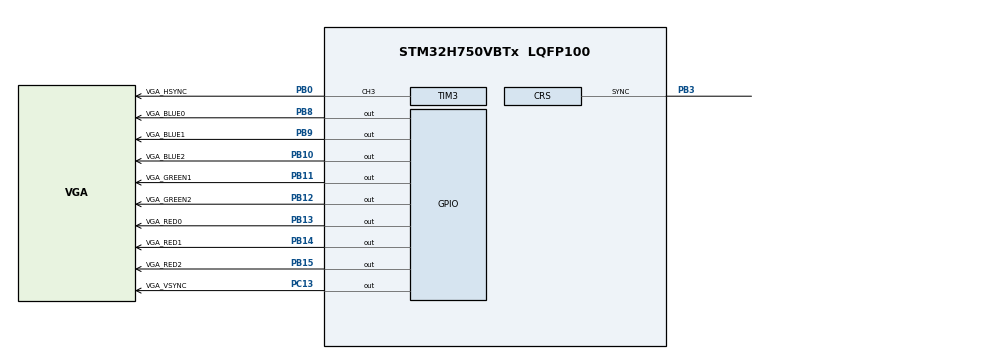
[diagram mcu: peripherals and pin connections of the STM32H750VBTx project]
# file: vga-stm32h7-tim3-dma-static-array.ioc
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ADC3.Channel-0\#ChannelRegularConversion=ADC_CHANNEL_VREFINT
ADC3.NbrOfConversionFlag=1
ADC3.OffsetNumber-0\#ChannelRegularConversion=ADC_OFFSET_NONE
ADC3.OffsetSignedSaturation-0\#ChannelRegularConversion=DISABLE
ADC3.Rank-0\#ChannelRegularConversion=1
ADC3.SamplingTime-0\#ChannelRegularConversion=ADC_SAMPLETIME_1CYCLE_5
CORTEX_M7.CPU_DCache=Enabled
CORTEX_M7.CPU_ICache=Enabled
Dma.Request0=TIM1_UP
Dma.TIM1_UP.0.Direction=DMA_MEMORY_TO_PERIPH
Dma.TIM1_UP.0.EventEnable=DISABLE
Dma.TIM1_UP.0.FIFOMode=DMA_FIFOMODE_DISABLE
Dma.TIM1_UP.0.Instance=DMA2_Stream5
Dma.TIM1_UP.0.MemDataAlignment=DMA_MDATAALIGN_BYTE
Dma.TIM1_UP.0.MemInc=DMA_MINC_ENABLE
Dma.TIM1_UP.0.Mode=DMA_NORMAL
Dma.TIM1_UP.0.PeriphDataAlignment=DMA_PDATAALIGN_BYTE
Dma.TIM1_UP.0.PeriphInc=DMA_PINC_DISABLE
Dma.TIM1_UP.0.Polarity=HAL_DMAMUX_REQ_GEN_RISING
Dma.TIM1_UP.0.Priority=DMA_PRIORITY_VERY_HIGH
Dma.TIM1_UP.0.RequestNumber=1
Dma.TIM1_UP.0.SignalID=NONE
Dma.TIM1_UP.0.SyncEnable=DISABLE
Dma.TIM1_UP.0.SyncPolarity=HAL_DMAMUX_SYNC_NO_EVENT
Dma.TIM1_UP.0.SyncRequestNumber=1
Dma.TIM1_UP.0.SyncSignalID=NONE
Mcu.Family=STM32H7
Mcu.Name=STM32H750VBTx
Mcu.Package=LQFP100
NVIC.DMA2_Stream5_IRQn=true\:0\:0\:false\:false\:true\:false\:true
NVIC.PriorityGroup=NVIC_PRIORITYGROUP_4
NVIC.TIM3_IRQn=true\:0\:0\:false\:false\:true\:true\:true
PA13\ (JTMS/SWDIO).Mode=Serial_Wire
PA13\ (JTMS/SWDIO).Signal=DEBUG_JTMS-SWDIO
PA14\ (JTCK/SWCLK).Mode=Serial_Wire
PA14\ (JTCK/SWCLK).Signal=DEBUG_JTCK-SWCLK
PB0.GPIO_Label=VGA_HSYNC
PB0.Signal=S_TIM3_CH3
PB10.GPIO_Label=VGA_BLUE2
PB10.GPIO_ModeDefaultOutputPP=GPIO_MODE_OUTPUT_PP
PB10.GPIO_PuPd=GPIO_NOPULL
PB10.GPIO_Speed=GPIO_SPEED_FREQ_VERY_HIGH
PB10.PinState=GPIO_PIN_RESET
PB10.Signal=GPIO_Output
PB11.GPIO_Label=VGA_GREEN1
PB11.GPIO_ModeDefaultOutputPP=GPIO_MODE_OUTPUT_PP
PB11.GPIO_PuPd=GPIO_NOPULL
PB11.GPIO_Speed=GPIO_SPEED_FREQ_VERY_HIGH
PB11.PinState=GPIO_PIN_RESET
PB11.Signal=GPIO_Output
PB12.GPIO_Label=VGA_GREEN2
PB12.GPIO_ModeDefaultOutputPP=GPIO_MODE_OUTPUT_PP
PB12.GPIO_PuPd=GPIO_NOPULL
PB12.GPIO_Speed=GPIO_SPEED_FREQ_VERY_HIGH
PB12.PinState=GPIO_PIN_RESET
PB12.Signal=GPIO_Output
PB13.GPIO_Label=VGA_RED0
PB13.GPIO_ModeDefaultOutputPP=GPIO_MODE_OUTPUT_PP
PB13.GPIO_PuPd=GPIO_NOPULL
PB13.GPIO_Speed=GPIO_SPEED_FREQ_VERY_HIGH
PB13.PinState=GPIO_PIN_RESET
PB13.Signal=GPIO_Output
PB14.GPIO_Label=VGA_RED1
PB14.GPIO_ModeDefaultOutputPP=GPIO_MODE_OUTPUT_PP
PB14.GPIO_PuPd=GPIO_NOPULL
PB14.GPIO_Speed=GPIO_SPEED_FREQ_VERY_HIGH
PB14.PinState=GPIO_PIN_RESET
PB14.Signal=GPIO_Output
PB15.GPIO_Label=VGA_RED2
PB15.GPIO_ModeDefaultOutputPP=GPIO_MODE_OUTPUT_PP
PB15.GPIO_PuPd=GPIO_NOPULL
PB15.GPIO_Speed=GPIO_SPEED_FREQ_VERY_HIGH
PB15.PinState=GPIO_PIN_RESET
PB15.Signal=GPIO_Output
PB3\ (JTDO/TRACESWO).Mode=CRS SYNC Source GPIO
PB3\ (JTDO/TRACESWO).Signal=CRS_SYNC
PB8.GPIO_FM8=SYSCFG_PMCR_I2C_PB8_FMP
PB8.GPIO_Label=VGA_BLUE0
PB8.GPIO_ModeDefaultOutputPP=GPIO_MODE_OUTPUT_PP
PB8.GPIO_Speed=GPIO_SPEED_FREQ_VERY_HIGH
PB8.Signal=GPIO_Output
PB9.GPIO_FM9=SYSCFG_PMCR_I2C_PB9_FMP
PB9.GPIO_Label=VGA_BLUE1
PB9.GPIO_ModeDefaultOutputPP=GPIO_MODE_OUTPUT_PP
PB9.GPIO_PuPd=GPIO_NOPULL
PB9.GPIO_Speed=GPIO_SPEED_FREQ_VERY_HIGH
PB9.PinState=GPIO_PIN_RESET
PB9.Signal=GPIO_Output
PC13.GPIO_Label=VGA_VSYNC
PC13.GPIO_ModeDefaultOutputPP=GPIO_MODE_OUTPUT_PP
PC13.GPIO_PuPd=GPIO_NOPULL
PC13.GPIO_Speed=GPIO_SPEED_FREQ_LOW
PC13.PinState=GPIO_PIN_RESET
PC13.Signal=GPIO_Output
PC14-OSC32_IN\ (OSC32_IN).Mode=LSE-External-Oscillator
PC14-OSC32_IN\ (OSC32_IN).Signal=RCC_OSC32_IN
PC15-OSC32_OUT\ (OSC32_OUT).Mode=LSE-External-Oscillator
PC15-OSC32_OUT\ (OSC32_OUT).Signal=RCC_OSC32_OUT
PH0-OSC_IN\ (PH0).Mode=HSE-External-Oscillator
PH0-OSC_IN\ (PH0).Signal=RCC_OSC_IN
PH1-OSC_OUT\ (PH1).Mode=HSE-External-Oscillator
PH1-OSC_OUT\ (PH1).Signal=RCC_OSC_OUT
ProjectManager.HeapSize=0x400
ProjectManager.StackSize=0x800
ProjectManager.TargetToolchain=Makefile
RCC.ADCCLockSelection=RCC_ADCCLKSOURCE_PLL3
RCC.ADCFreq_Value=40000000
RCC.APB1Freq_Value=105000000
RCC.APB2Freq_Value=105000000
RCC.APB3Freq_Value=105000000
RCC.APB4Freq_Value=105000000
RCC.CSICalibrationValue=16
RCC.CortexFreq_Value=420000000
RCC.D1PPRE=RCC_APB3_DIV2
RCC.D2PPRE1=RCC_APB1_DIV2
RCC.D2PPRE2=RCC_APB2_DIV2
RCC.D3PPRE=RCC_APB4_DIV2
RCC.DIVM1=4
RCC.DIVM2=4
RCC.DIVM3=2
RCC.DIVN1=420
RCC.DIVN2=200
RCC.DIVN3=200
RCC.DIVQ3=4
RCC.DIVR3=20
RCC.FLatency=FLASH_LATENCY_2
RCC.HCLKFreq_Value=210000000
RCC.HPRE=RCC_HCLK_DIV2
RCC.HSE_VALUE=8000000
RCC.HSICalibrationValue=32
RCC.PLL2FRACN=0
RCC.PLL3FRACN=0
RCC.PLLFRACN=0
RCC.PLLSourceVirtual=RCC_PLLSOURCE_HSE
RCC.PWR_Regulator_Voltage_Scale=PWR_REGULATOR_VOLTAGE_SCALE0
RCC.ProductRev=revY
RCC.QSPICLockSelection=RCC_QSPICLKSOURCE_CLKP
RCC.RCC_TIM_PRescaler_Selection=RCC_TIMPRES_DESACTIVATED
RCC.SDMMC1CLockSelection=RCC_SDMMCCLKSOURCE_PLL2
RCC.SYSCLKFreq_VALUE=420000000
RCC.SYSCLKSource=RCC_SYSCLKSOURCE_PLLCLK
RCC.USBCLockSelection=RCC_USBCLKSOURCE_PLL3
RCC.USBFreq_Value=200000000
SH.S_TIM3_CH3.0=TIM3_CH3,PWM Generation3 CH3
TIM1.Period=VGA_TIM1_PERIODE
TIM1.Prescaler=VGA_TIM1_PRESCALE
TIM3.Channel-PWM\ Generation1\ No\ Output=TIM_CHANNEL_1
TIM3.Channel-PWM\ Generation3\ CH3=TIM_CHANNEL_3
TIM3.OCPolarity_1=TIM_OCPOLARITY_LOW
TIM3.OCPolarity_3=TIM_OCPOLARITY_LOW
TIM3.Period=VGA_TIM3_HSYNC_PERIODE
TIM3.Prescaler=VGA_TIM3_HSYNC_PRESCALE
TIM3.Pulse-PWM\ Generation1\ No\ Output=VGA_TIM3_HTRIGGER_START
TIM3.Pulse-PWM\ Generation3\ CH3=VGA_TIM3_HSYNC_IMP
VP_ADC3_Vbat_Input.Mode=IN-Vbat
VP_ADC3_Vref_Input.Mode=IN-Vrefint
VP_RTC_VS_RTC_Activate.Mode=RTC_Enabled
VP_TIM1_VS_ClockSourceINT.Mode=Internal
VP_TIM3_VS_ClockSourceINT.Mode=Internal
VP_TIM3_VS_no_output1.Mode=PWM Generation1 No Output
board=custom

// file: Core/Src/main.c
/* USER CODE BEGIN Header */

/*** iso-8859-5 code for support cyrilic symbols ***/

/**
  ******************************************************************************
  * @file           : main.c
  * @brief          : Main program body
  *
  ****************************************************************************
  * @attention
  *
  * <h2><center>&copy; Copyright (c) 2020 STMicroelectronics.
  * All rights reserved.</center></h2>
  *
  * This software component is licensed by ST under BSD 3-Clause license,
  * the "License"; You may not use this file except in compliance with the
  * License. You may obtain a copy of the License at:
  *                        opensource.org/licenses/BSD-3-Clause
  *
  ******************************************************************************
  */
/* USER CODE END Header */
#include "main.h"
#include "adc.h"
#include "dma.h"
#include "rtc.h"
#include "tim.h"
#include "gpio.h"

/* USER CODE BEGIN Includes */
// #include "graphics.h"
// #include "extra.h"
// #include "fonts.h"

#include "fonts.h"
#include "stm32_ub_vga_text.h"
#include "stm32_adafruit_vga.h"

//stdc
#include <stdio.h>
#include <string.h>
#include <stdlib.h>
#include <math.h>
#include <errno.h>

/* USER CODE END Includes */

/* USER CODE BEGIN PD */
#define MAX_INPUT_LEN 1024
/* USER CODE END PD */

/* USER CODE BEGIN PV */

extern uint16_t penguin[];

char buffVal0[12];
char buffVal1[12];
char buffVal2[12];
char buffVal3[12];
char buffVal4[12];
char buffVal5[12];
char buffVal6[12];
char buffVal7[12];

uint16_t Value0;
uint16_t Value1;
uint16_t Value2;
uint16_t Value3;
uint16_t Value4;
uint16_t Value5;
uint16_t Value6;
uint16_t Value7;

char input_buff[MAX_INPUT_LEN] = {};

uint32_t wait_time = 0;
uint32_t start_time = 0;
// uint32_t interpreter_data_len = 0;

/* USER CODE END PV */

void SystemClock_Config(void);
void PeriphCommonClock_Config(void);
/* USER CODE BEGIN PFP */
char UART_Check_for_string(char * ptr, uint32_t max_size);
/* USER CODE END PFP */

/* USER CODE BEGIN 0 */
uint16_t rand16(void)
{
  uint16_t lfsr = random();
  uint32_t bit;
  bit = ((lfsr >> 0) ^ (lfsr >> 2) ^ (lfsr >> 3) ^ (lfsr >> 5)) & 1;
  return lfsr = (lfsr >> 1) | (bit << 15);
}

#define sinus_points 255
#define minimal_amplitude 5

float PI = 3.14159;
float sin_table_a[sinus_points];
float sin_table_b[sinus_points];
float sin_table_c[sinus_points];

void sin_init(uint16_t i)
{
  sin_table_c[(i+(sinus_points/3*1)) & (sinus_points)]=
  sin_table_b[(i+(sinus_points/3*2)) & (sinus_points)]=
  sin_table_a[(i+(sinus_points/3*3)) & (sinus_points)]=
  ((sin((float) i*(2*PI/sinus_points)))*(sinus_points/2));
}

void sinusoide_scroll(void)
{
  for(uint16_t shift = 40 ; shift < UB_VGA_Get_Y() - 40; shift++)
  {
    for(uint16_t i = 0; i<UB_VGA_Get_X() ; i++)
    {
      static volatile uint16_t x;
      x = i & sinus_points;
      if(x>=sinus_points) x-=sinus_points;
      BSP_LCD_DrawPixel(i, (sin_table_a[x]/2)+shift, VGA_COL_BLUE);
      BSP_LCD_DrawPixel(i, (sin_table_b[x]/2)+shift, VGA_COL_GREEN);
      BSP_LCD_DrawPixel(i, (sin_table_c[x]/2)+shift, VGA_COL_RED);
    }

    for(uint32_t i=0;i<2e6;i++) __asm volatile ("nop");

    for(uint16_t i = 0; i<UB_VGA_Get_X() ; i++)
    {
      static volatile uint16_t x;
      x = i & sinus_points;
      if(x>=sinus_points) x-=sinus_points;
      BSP_LCD_DrawPixel(i, (sin_table_a[x]/2)+shift, 0);
      BSP_LCD_DrawPixel(i, (sin_table_b[x]/2)+shift, 0);
      BSP_LCD_DrawPixel(i, (sin_table_c[x]/2)+shift, 0);
    }
  }
  for(uint16_t shift=UB_VGA_Get_Y() - 40 ; shift > 40; shift--)
  {
    for(uint16_t i = UB_VGA_Get_X(); i>0 ; i--)
    {
      static volatile uint16_t x;
      x = i & sinus_points;
      if(x>=sinus_points) x-=sinus_points;
      BSP_LCD_DrawPixel(i, (sin_table_a[x]/2)+shift, VGA_COL_BLUE);
      BSP_LCD_DrawPixel(i, (sin_table_b[x]/2)+shift, VGA_COL_GREEN);
      BSP_LCD_DrawPixel(i, (sin_table_c[x]/2)+shift, VGA_COL_RED);
    }

    for(uint32_t i=0;i<2e6;i++) __asm volatile ("nop");

    for(uint16_t i = UB_VGA_Get_X(); i>0 ; i--)
    {
      static volatile uint16_t x;
      x = i & sinus_points;
      if(x>=sinus_points) x-=sinus_points;
      BSP_LCD_DrawPixel(i, (sin_table_a[x]/2)+shift, 0);
      BSP_LCD_DrawPixel(i, (sin_table_b[x]/2)+shift, 0);
      BSP_LCD_DrawPixel(i, (sin_table_c[x]/2)+shift, 0);
    }
  }
}

void draw_dot_grid(void)
{
    for(uint8_t i=0;i<0b11111111;i+=0b11)
    {
      /*
      for(uint16_t x = 20; x<UB_VGA_Get_Y()-16; x+= 4)
          for(uint16_t i = 4; i<UB_VGA_Get_X()-16; i+=32)BSP_LCD_DrawPixel(i, x, VGA_COL_BLUE);
      for(uint16_t x = 10; x<UB_VGA_Get_Y()-16; x+=32)
          for(uint16_t i = 4; i<UB_VGA_Get_X()-16; i+= 4)BSP_LCD_DrawPixel(i, x, VGA_COL_GREEN);
      */
      for(uint16_t x = 16;x<UB_VGA_Get_Y()-15;x+= 8)
        for(uint16_t i = 16; i<UB_VGA_Get_X()-15; i+=32) BSP_LCD_DrawPixel(i, x, VGA_COL_BLUE);
      for(uint16_t x = 16;x<UB_VGA_Get_Y()-15;x+=32)
        for(uint16_t i = 16; i<UB_VGA_Get_X()-15; i+=8) BSP_LCD_DrawPixel(i, x, VGA_COL_GREEN);
    }
}

void draw_grid(void)
{
  BSP_LCD_SetTextColor(rand16());
  for(uint16_t i = 5; i<UB_VGA_Get_Y()-5; i+=30)  { BSP_LCD_DrawLine(5, i, UB_VGA_Get_X()-5, i); }
  BSP_LCD_SetTextColor(rand16());
  for(uint16_t i = 5; i<UB_VGA_Get_X()-5; i+=30)  { BSP_LCD_DrawLine(i, 5, i, UB_VGA_Get_Y()-5); }
}

void draw_pixels(void)
{
  for(uint32_t i=0;i<11e5;i++)
  {
    BSP_LCD_DrawPixel(rand16()%UB_VGA_Get_X(), rand16()%UB_VGA_Get_Y(), 0);
    if(i%100) BSP_LCD_DrawPixel(rand16()%UB_VGA_Get_X(), rand16()%UB_VGA_Get_Y(), rand16());
    // for(uint32_t i=0;i<110;i++) __asm volatile ("nop");
  }
}

/* USER CODE END 0 */

int main(void)
{

  /* Enable I-Cache---------------------------------------------------------*/
  SCB_EnableICache();

  /* Enable D-Cache---------------------------------------------------------*/
  SCB_EnableDCache();

  /* MCU Configuration--------------------------------------------------------*/

  /* Reset of all peripherals, Initializes the Flash interface and the Systick. */

  LL_APB4_GRP1_EnableClock(LL_APB4_GRP1_PERIPH_SYSCFG);

  NVIC_SetPriorityGrouping(NVIC_PRIORITYGROUP_4);

  /* System interrupt init*/

  /* USER CODE BEGIN Init */
  UB_VGA_ll_Init();
  /* USER CODE END Init */

  /* Configure the system clock */
  SystemClock_Config();

/* Configure the peripherals common clocks */
  PeriphCommonClock_Config();

  /* Initialize all configured peripherals */
  MX_GPIO_Init();
  MX_DMA_Init();
  MX_RTC_Init();
  MX_TIM1_Init();
  MX_TIM3_Init();
  MX_ADC3_Init();
  /* USER CODE BEGIN 2 */
  SysTick_config(SystemCoreClock/1e3L); // system tick 1ms
  ticks_init();
  // SysTick->CTRL = 0; // disable SysTick

  // Init VGA-Screen
  UB_VGA_Screen_Init(VGA_DISPLAY_X, VGA_DISPLAY_Y);

  printf("\rstarted display\r\n");

  /* USER CODE END 2 */

  /* Infinite loop */
  /* USER CODE BEGIN WHILE */

  for (uint32_t i=0; i<sinus_points; i++)
  {
    sin_init(i);
  }

  while (1)
  {
    UB_VGA_FillScreen(0);
    for(uint32_t i=0;i<2;i++) sinusoide_scroll();

    UB_VGA_FillScreen(0);
    for(uint32_t i=0;i<16;i++)
    {
      Value1 = read_adc(ADC1, GPIOA, 0x1UL << 1);
      Value2 = read_adc(ADC1, GPIOA, 0x1UL << 2);
      Value3 = read_adc(ADC1, GPIOA, 0x1UL << 3);
      Value4 = read_adc(ADC1, GPIOA, 0x1UL << 4);
      Value5 = read_adc(ADC1, GPIOA, 0x1UL << 5);

      sprintf(buffVal1,"A1 %3d,\n",Value1);
      sprintf(buffVal2,"A2 %3d,\n",Value2);
      sprintf(buffVal3,"A3 %3d,\n",Value3);
      sprintf(buffVal4,"A4 %3d,\n",Value4);
      sprintf(buffVal5,"A5 %3d,\n",Value5);

      // tft_puts8x16( 20,   10, "Analog read:", 1, VGA_COL_GREEN , VGA_COL_BLACK);
      // tft_puts8x16( 20,   40,  buffVal1,      1, VGA_COL_GREEN,  VGA_COL_BLACK);
      BSP_LCD_SetBackColor(VGA_COL_BLACK);

      BSP_LCD_SetFont(&Font12);
      BSP_LCD_SetTextColor(VGA_COL_GREEN);
      BSP_LCD_DisplayStringAt(5, 10, buffVal1, LEFT_MODE);
      // tft_puts8x16(5,   10,  buffVal1,    1, VGA_COL_GREEN,  VGA_COL_BLACK);

      BSP_LCD_SetFont(&Font16);
      BSP_LCD_SetTextColor(VGA_COL_YELLOW);
      BSP_LCD_DisplayStringAt(5, 30, buffVal2, LEFT_MODE);
      // tft_puts8x16(5,   30,  buffVal2,    1, VGA_COL_YELLOW, VGA_COL_BLACK);

      BSP_LCD_SetFont(&Font20);
      BSP_LCD_SetTextColor(VGA_COL_CYAN);
      BSP_LCD_DisplayStringAt(5, 50, buffVal3, LEFT_MODE);
      // tft_puts8x16(5,   50, buffVal3,     1, VGA_COL_CYAN,   VGA_COL_BLACK);

      tft_puts8x16(5,   70, buffVal4,     1, VGA_COL_GREEN,  VGA_COL_BLACK);
      tft_puts14x24(5,  90, buffVal5,        VGA_COL_BLUE,   VGA_COL_BLACK);

      for(uint32_t i=0;i<5e7;i++) __asm volatile ("nop");
    }

    UB_VGA_FillScreen(0);
    draw_grid();
    for(uint32_t i=0;i<5e8;i++) __asm volatile ("nop");

    UB_VGA_FillScreen(0);
    for(uint32_t i=0;i<1360;i++)
    {
      BSP_LCD_SetTextColor(rand16());
      BSP_LCD_FillEllipse(rand16()%UB_VGA_Get_X(), rand16()%UB_VGA_Get_Y(), 35, 15);
    } for(uint32_t i=0;i<5e8;i++) __asm volatile ("nop");

    UB_VGA_FillScreen(0);
    for(uint32_t i=0;i<860;i++)
    {
      BSP_LCD_SetTextColor(rand16());
      BSP_LCD_FillRect(rand16()%UB_VGA_Get_X(), rand16()%UB_VGA_Get_Y(), 50, 25);
    }  for(uint32_t i=0;i<5e8;i++) __asm volatile ("nop");

    UB_VGA_FillScreen(0);
    for(uint32_t i=0;i<860;i++)
    {
      BSP_LCD_SetTextColor(rand16());
      BSP_LCD_FillCircle(rand16()%UB_VGA_Get_X(), rand16()%UB_VGA_Get_Y(), 20);
    }  for(uint32_t i=0;i<5e8;i++) __asm volatile ("nop");

    UB_VGA_FillScreen(0);
    draw_dot_grid();
    for(uint32_t i=0;i<5e8;i++) __asm volatile ("nop");

    UB_VGA_FillScreen(0);
    draw_pixels();
    for(uint32_t i=0;i<5e8;i++) __asm volatile ("nop");

    UB_VGA_FillScreen(0);
    BSP_LCD_SetTextColor(VGA_COL_YELLOW);
    // BSP_LCD_SetBackColor(VGA_COL_BLACK);
    BSP_LCD_SetFont(&Font12);
    BSP_LCD_DisplayStringAt(20, 44, "STM32H750", LEFT_MODE);
    for(uint32_t i=0;i<5e8;i++) __asm volatile ("nop");

    // lcd_test();

    // +++ test widget clock +++
    // clock();

    // +++ test widget gauge +++
    /* for(uint16_t i=270;i<=360;i++)
    { // (coordinate_x, coordinate_y, rotateangle ,color, value)
      gauge(24,100, 100,LCD_COLOR_YELLOW, i);
      delay_us(15900);

    }
    for(uint16_t i=360;i>=270;i--)
    { // (coordinate_x, coordinate_y, rotateangle ,color, value)
      gauge(24,100, 100,LCD_COLOR_YELLOW, i);
      delay_us(15900);
    } */

    /* USER CODE END WHILE */

  }
}

void SystemClock_Config(void)
{
  LL_FLASH_SetLatency(LL_FLASH_LATENCY_2);
  while(LL_FLASH_GetLatency()!= LL_FLASH_LATENCY_2)
  {
  }
  LL_PWR_ConfigSupply(LL_PWR_LDO_SUPPLY);
  LL_PWR_SetRegulVoltageScaling(LL_PWR_REGU_VOLTAGE_SCALE0);
  LL_RCC_HSE_Enable();

   /* Wait till HSE is ready */
  while(LL_RCC_HSE_IsReady() != 1)
  {

  }
  LL_RCC_HSI48_Enable();

   /* Wait till HSI48 is ready */
  while(LL_RCC_HSI48_IsReady() != 1)
  {

  }
  LL_RCC_LSI_Enable();

   /* Wait till LSI is ready */
  while(LL_RCC_LSI_IsReady() != 1)
  {

  }
  LL_PWR_EnableBkUpAccess();
  LL_RCC_PLL_SetSource(LL_RCC_PLLSOURCE_HSE);
  LL_RCC_PLL1P_Enable();
  LL_RCC_PLL1R_Enable();
  LL_RCC_PLL1_SetVCOInputRange(LL_RCC_PLLINPUTRANGE_2_4);
  LL_RCC_PLL1_SetVCOOutputRange(LL_RCC_PLLVCORANGE_WIDE);
  LL_RCC_PLL1_SetM(4);
  LL_RCC_PLL1_SetN(420);
  LL_RCC_PLL1_SetP(2);
  LL_RCC_PLL1_SetQ(2);
  LL_RCC_PLL1_SetR(2);
  LL_RCC_PLL1_Enable();

   /* Wait till PLL is ready */
  while(LL_RCC_PLL1_IsReady() != 1)
  {
  }

   /* Intermediate AHB prescaler 2 when target frequency clock is higher than 80 MHz */
   LL_RCC_SetAHBPrescaler(LL_RCC_AHB_DIV_2);

  LL_RCC_SetSysClkSource(LL_RCC_SYS_CLKSOURCE_PLL1);

   /* Wait till System clock is ready */
  while(LL_RCC_GetSysClkSource() != LL_RCC_SYS_CLKSOURCE_STATUS_PLL1)
  {

  }
  LL_RCC_SetSysPrescaler(LL_RCC_SYSCLK_DIV_1);
  LL_RCC_SetAHBPrescaler(LL_RCC_AHB_DIV_2);
  LL_RCC_SetAPB1Prescaler(LL_RCC_APB1_DIV_2);
  LL_RCC_SetAPB2Prescaler(LL_RCC_APB2_DIV_2);
  LL_RCC_SetAPB3Prescaler(LL_RCC_APB3_DIV_2);
  LL_RCC_SetAPB4Prescaler(LL_RCC_APB4_DIV_2);

  LL_Init1msTick(420000000);

  LL_SetSystemCoreClock(420000000);
  LL_CRS_SetSyncDivider(LL_CRS_SYNC_DIV_1);
  LL_CRS_SetSyncPolarity(LL_CRS_SYNC_POLARITY_RISING);
  LL_CRS_SetSyncSignalSource(LL_CRS_SYNC_SOURCE_GPIO);
  LL_CRS_SetReloadCounter(__LL_CRS_CALC_CALCULATE_RELOADVALUE(48000000,1));
  LL_CRS_SetFreqErrorLimit(34);
  LL_CRS_SetHSI48SmoothTrimming(32);
}

void PeriphCommonClock_Config(void)
{
  LL_RCC_PLL3R_Enable();
  LL_RCC_PLL3_SetVCOInputRange(LL_RCC_PLLINPUTRANGE_4_8);
  LL_RCC_PLL3_SetVCOOutputRange(LL_RCC_PLLVCORANGE_WIDE);
  LL_RCC_PLL3_SetM(2);
  LL_RCC_PLL3_SetN(200);
  LL_RCC_PLL3_SetP(2);
  LL_RCC_PLL3_SetQ(4);
  LL_RCC_PLL3_SetR(20);
  LL_RCC_PLL3_Enable();

   /* Wait till PLL is ready */
  while(LL_RCC_PLL3_IsReady() != 1)
  {
  }

}

void Error_Handler(void)
{
}
